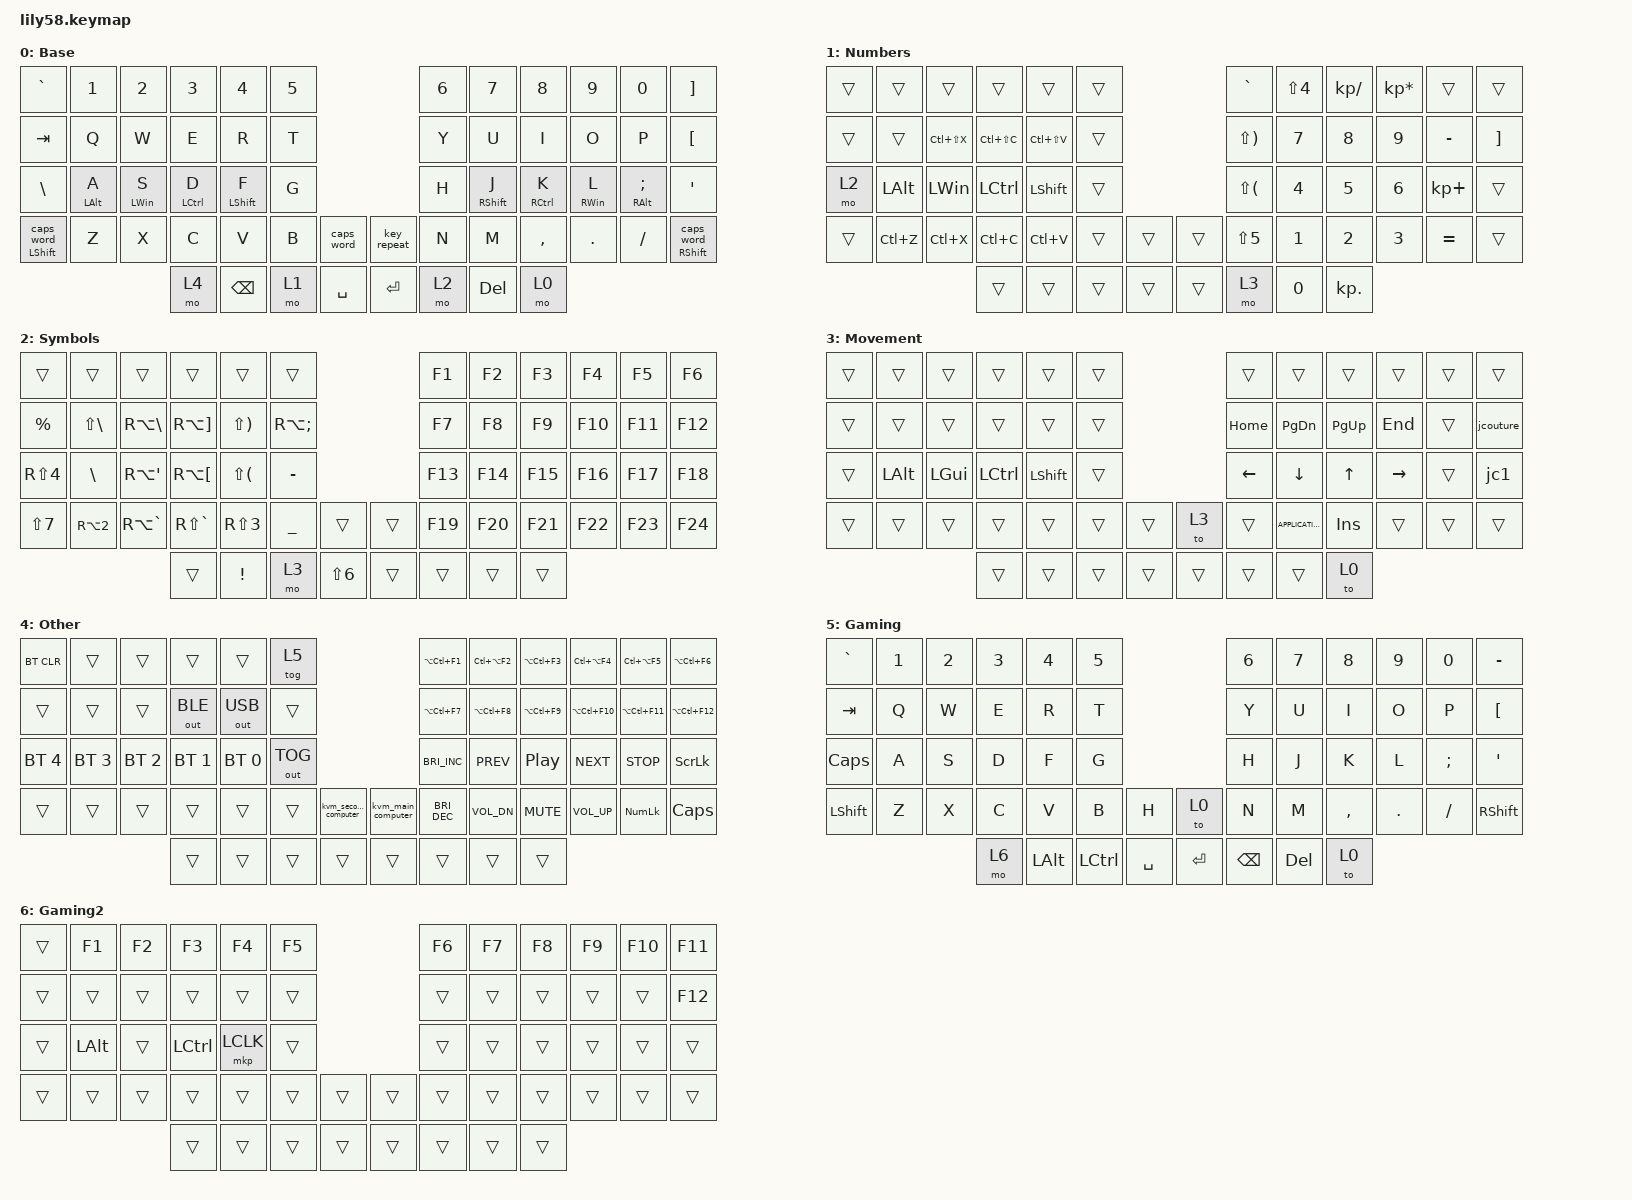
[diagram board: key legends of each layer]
/*
 * Copyright (c) 2020 The ZMK Contributors
 *
 * SPDX-License-Identifier: MIT
 */

#include <behaviors.dtsi>
#include <dt-bindings/zmk/bt.h>
#include <dt-bindings/zmk/keys.h>
#include <dt-bindings/zmk/outputs.h>
#include <dt-bindings/zmk/pointing.h>

&mt {
    flavor = "tap-preferred";
    quick-tap-ms = <200>;
    tapping-term-ms = <250>;
};

&soft_off { hold-time-ms = <2000>; };

/ {
    combos {
        compatible = "zmk,combos";

        escape_dual_keypress {
            bindings = <&kp ESCAPE>;
            key-positions = <0 1>;
            layers = <0 5 2>;
            require-prior-idle-ms = <75>;
        };

        combo_print_screen {
            bindings = <&kp PRINTSCREEN>;
            key-positions = <11 10>;
            require-prior-idle-ms = <75>;
            layers = <0>;
        };

        movement_layer {
            bindings = <&mo 3>;
            key-positions = <52 55>;
            layers = <0>;
            require-prior-idle-ms = <75>;
        };

        soft_off {
            bindings = <&soft_off>;
            key-positions = <7 6 8>;
        };
    };

    macros {
        kvm_main_computer: kvm_main_computer {
            compatible = "zmk,behavior-macro";
            #binding-cells = <0>;
            bindings = <&kp SCROLLLOCK &kp SCROLLLOCK &kp NUMBER_1>;
            label = "KVM_MAIN_COMPUTER";
            wait-ms = <100>;
            tap-ms = <100>;
        };

        kvm_second_computer: kvm_second_computer {
            compatible = "zmk,behavior-macro";
            #binding-cells = <0>;
            bindings = <&kp SCROLLLOCK &kp SCROLLLOCK &kp NUMBER_2>;
            label = "KVM_SECOND_COMPUTER";
            wait-ms = <100>;
            tap-ms = <100>;
        };

        left_click_repeat: left_click_repeat {
            compatible = "zmk,behavior-macro";
            #binding-cells = <0>;
            bindings = <&mkp LCLK>;
            label = "LEFT_CLICK_REPEAT";
        };

        jcouture: jcouture {
            compatible = "zmk,behavior-macro";
            #binding-cells = <0>;
            bindings = <&kp AT &kp J &kp C &kp O &kp U &kp T &kp U &kp R &kp E &kp DOT &kp C &kp A>;
            label = "JCOUTURE";
        };

        jc1: jc1 {
            compatible = "zmk,behavior-macro";
            #binding-cells = <0>;
            bindings = <&kp AT &kp J &kp C &kp N1 &kp DOT &kp C &kp A>;
            label = "JC1";
        };
    };

    behaviors {
        hml: home_mods_left {
            compatible = "zmk,behavior-hold-tap";
            label = "HM LEFT";
            bindings = <&kp>, <&kp>;

            #binding-cells = <2>;
            tapping-term-ms = <280>;
            quick-tap-ms = <175>;
            require-prior-idle-ms = <150>;
            flavor = "balanced";
            hold-trigger-key-positions = <6 7 8 9 10 11 18 19 20 21 22 23 30 31 32 33 34 35 43 44 45 46 47 48 49 54 55 56 57 50 51 52 53>;
            hold-trigger-on-release;
        };

        hmr: home_mods_right {
            compatible = "zmk,behavior-hold-tap";
            label = "HM RIGHT";
            bindings = <&kp>, <&kp>;

            #binding-cells = <2>;
            tapping-term-ms = <280>;
            quick-tap-ms = <175>;
            require-prior-idle-ms = <150>;
            flavor = "balanced";
            hold-trigger-on-release;
            hold-trigger-key-positions = <54 55 56 57 0 1 2 3 4 5 12 13 14 15 16 17 24 25 26 27 28 29 36 37 38 39 40 41 42 50 51 52 53>;
        };

        scw: shift_cap_word {
            compatible = "zmk,behavior-hold-tap";
            label = "Shift cap word";
            bindings = <&kp>, <&caps_word>;

            #binding-cells = <2>;
            tapping-term-ms = <280>;
            quick-tap-ms = <175>;
            require-prior-idle-ms = <150>;
            flavor = "balanced";
            hold-trigger-on-release;
        };
    };

    keymap {
        compatible = "zmk,keymap";

        default_layer {
            display-name = "Base";
            label = "Base";
            bindings = <
&kp GRAVE      &kp N1           &kp N2           &kp N3        &kp N4            &kp N5                             &kp N6  &kp N7              &kp N8                &kp N9            &kp N0                    &kp RIGHT_BRACKET
&kp TAB        &kp Q            &kp W            &kp E         &kp R             &kp T                              &kp Y   &kp U               &kp I                 &kp O             &kp P                     &kp LEFT_BRACKET
&kp BACKSLASH  &hml LEFT_ALT A  &hml LEFT_WIN S  &hml LCTRL D  &mt LEFT_SHIFT F  &kp G                              &kp H   &hmr RIGHT_SHIFT J  &hmr RIGHT_CONTROL K  &hmr RIGHT_WIN L  &hmr RIGHT_ALT SEMICOLON  &kp SQT
&scw LSHFT 0   &kp Z            &kp X            &kp C         &kp V             &kp B   &caps_word    &key_repeat  &kp N   &kp M               &kp COMMA             &kp DOT           &kp FSLH                  &scw RSHFT 0
                                                 &mo 4         &kp BACKSPACE     &mo 1   &kp SPACE     &kp ENTER    &mo 2   &kp DELETE          &mo 0
            >;
        };

        Numbers {
            display-name = "Numbers";
            bindings = <
&trans  &trans        &trans         &trans         &trans          &trans                    &kp GRAVE         &kp LS(N4)  &kp KP_SLASH  &kp KP_MULTIPLY  &trans       &trans
&trans  &trans        &kp LC(LS(X))  &kp LC(LS(C))  &kp LC(LS(V))   &trans                    &kp LS(RPAR)      &kp N7      &kp N8        &kp N9           &kp MINUS    &kp RBKT
&mo 2   &kp LEFT_ALT  &kp LEFT_WIN   &kp LCTRL      &kp LEFT_SHIFT  &trans                    &kp LS(LPAR)      &kp N4      &kp N5        &kp N6           &kp KP_PLUS  &trans
&trans  &kp LC(Z)     &kp LC(X)      &kp LC(C)      &kp LC(V)       &trans  &trans    &trans  &kp LS(NUMBER_5)  &kp N1      &kp N2        &kp N3           &kp EQUAL    &trans
                                     &trans         &trans          &trans  &trans    &trans  &mo 3             &kp N0      &kp KP_DOT
            >;
        };

        Symbols {
            display-name = "Symbols";
            bindings = <
&trans            &trans             &trans                &trans         &trans           &trans                                         &kp F1   &kp F2   &kp F3   &kp F4   &kp F5   &kp F6
&kp PERCENT       &kp LS(BACKSLASH)  &kp RA(BACKSLASH)     &kp RA(RBKT)   &kp LS(RPAR)     &kp RA(SEMICOLON)                              &kp F7   &kp F8   &kp F9   &kp F10  &kp F11  &kp F12
&kp RS(NUMBER_4)  &kp BACKSLASH      &kp RA(SINGLE_QUOTE)  &kp RA(LBKT)   &kp LS(LPAR)     &kp MINUS                                      &kp F13  &kp F14  &kp F15  &kp F16  &kp F17  &kp F18
&kp LS(N7)        &kp RA(NUMBER_2)   &kp RA(GRAVE)         &kp RS(GRAVE)  &kp RS(N3)       &kp UNDERSCORE     &trans              &trans  &kp F19  &kp F20  &kp F21  &kp F22  &kp F23  &kp F24
                                                           &trans         &kp EXCLAMATION  &mo 3              &kp LS(NUMBER_6)    &trans  &trans   &trans   &trans
            >;
        };

        Movement {
            display-name = "Movement";
            bindings = <
&trans  &trans        &trans        &trans     &trans          &trans                    &trans    &trans             &trans      &trans     &trans  &trans
&trans  &trans        &trans        &trans     &trans          &trans                    &kp HOME  &kp PG_DN          &kp PG_UP   &kp END    &trans  &jcouture
&trans  &kp LEFT_ALT  &kp LEFT_GUI  &kp LCTRL  &kp LEFT_SHIFT  &trans                    &kp LEFT  &kp DOWN           &kp UP      &kp RIGHT  &trans  &jc1
&trans  &trans        &trans        &trans     &trans          &trans  &trans    &to 3   &trans    &kp K_APPLICATION  &kp INSERT  &trans     &trans  &trans
                                    &trans     &trans          &trans  &trans    &trans  &trans    &trans             &to 0
            >;
        };

        //        Mouse {
        //            display-name = "Mouse";
        //            bindings = <
        //&trans  &trans            &trans            &trans          &trans           &trans                               &trans    &trans    &trans    &trans    &trans    &trans
        //&trans  &trans            &mwh SCROLL_DOWN  &mmv MOVE_UP    &mwh SCROLL_UP   &trans                               &trans    &trans    &trans    &trans    &trans    &trans
        //&trans  &mwh SCROLL_LEFT  &mmv MOVE_LEFT    &mmv MOVE_DOWN  &mmv MOVE_RIGHT  &mwh SCROLL_RIGHT                    &mkp MB4  &mkp MB1  &mkp MB2  &mkp MB3  &mkp MB5  &trans
        //&trans  &trans            &trans            &trans          &trans           &trans             &trans    &trans  &trans    &trans    &trans    &trans    &trans    &trans
        //                                            &trans          &trans           &trans             &trans    &trans  &trans    &trans    &trans
        //            >;
        //        };

        Other {
            display-name = "Other";
            bindings = <
&bt BT_CLR    &trans        &trans        &trans        &trans        &tog 5                                                    &kp LA(LC(F1))        &kp LC(LA(F2))  &kp LA(LC(F3))  &kp LC(LA(F4))   &kp LC(LA(F5))   &kp LA(LC(F6))
&trans        &trans        &trans        &out OUT_BLE  &out OUT_USB  &trans                                                    &kp LA(LC(F7))        &kp LA(LC(F8))  &kp LA(LC(F9))  &kp LA(LC(F10))  &kp LA(LC(F11))  &kp LA(LC(F12))
&bt BT_SEL 4  &bt BT_SEL 3  &bt BT_SEL 2  &bt BT_SEL 1  &bt BT_SEL 0  &out OUT_TOG                                              &kp C_BRIGHTNESS_INC  &kp C_PREV      &kp C_PP        &kp C_NEXT       &kp C_STOP       &kp SCROLLLOCK
&trans        &trans        &trans        &trans        &trans        &trans        &kvm_second_computer    &kvm_main_computer  &kp C_BRIGHTNESS_DEC  &kp C_VOL_DN    &kp K_MUTE      &kp C_VOL_UP     &kp KP_NUMLOCK   &kp CAPSLOCK
                                          &trans        &trans        &trans        &trans                  &trans              &trans                &trans          &trans
            >;
        };

        Gaming {
            display-name = "Gaming";
            bindings = <
&kp GRAVE  &kp N1  &kp N2  &kp N3  &kp N4    &kp N5                             &kp N6    &kp N7   &kp N8     &kp N9   &kp N0    &kp MINUS
&kp TAB    &kp Q   &kp W   &kp E   &kp R     &kp T                              &kp Y     &kp U    &kp I      &kp O    &kp P     &kp LBKT
&kp CAPS   &kp A   &kp S   &kp D   &kp F     &kp G                              &kp H     &kp J    &kp K      &kp L    &kp SEMI  &kp APOS
&kp LSHFT  &kp Z   &kp X   &kp C   &kp V     &kp B      &kp H        &to 0      &kp N     &kp M    &kp COMMA  &kp DOT  &kp FSLH  &kp RSHFT
                           &mo 6   &kp LALT  &kp LCTRL  &kp SPACE    &kp ENTER  &kp BSPC  &kp DEL  &to 0
            >;
        };

        Gaming2 {
            bindings = <
&trans  &kp F1    &kp F2  &kp F3     &kp F4     &kp F5                    &kp F6  &kp F7  &kp F8  &kp F9  &kp F10  &kp F11
&trans  &trans    &trans  &trans     &trans     &trans                    &trans  &trans  &trans  &trans  &trans   &kp F12
&trans  &kp LALT  &trans  &kp LCTRL  &mkp LCLK  &trans                    &trans  &trans  &trans  &trans  &trans   &trans
&trans  &trans    &trans  &trans     &trans     &trans  &trans    &trans  &trans  &trans  &trans  &trans  &trans   &trans
                          &trans     &trans     &trans  &trans    &trans  &trans  &trans  &trans
            >;

            label = "Gaming2";
        };
    };
};
